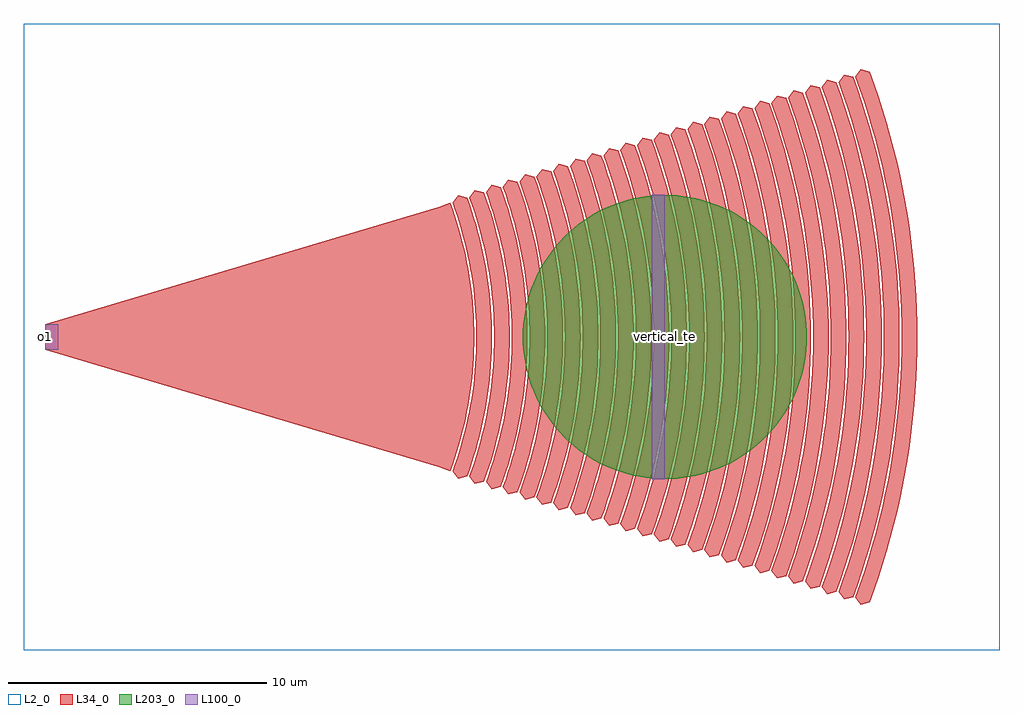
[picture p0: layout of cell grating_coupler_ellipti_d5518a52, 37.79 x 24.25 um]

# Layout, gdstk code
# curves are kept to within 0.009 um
import gdstk
lib = gdstk.Library(unit=1e-6, precision=1e-09)
def R(c, l, rs):  # rectangles x0, y0, x1, y1
    for r in rs: c.add(gdstk.rectangle(r[:2], r[2:], *l))
def P(c, l, *ps):  # polygons
    for p in ps: c.add(gdstk.Polygon(p, *l))
L2_0 = (2, 0)
L34_0 = (34, 0)
L100_0 = (100, 0)
L203_0 = (203, 0)

circle_layer203_0_radius = lib.new_cell('circle_layer203_0_radius5p5')
P(circle_layer203_0_radius, L203_0, [(5.5,0),(5.495,0.24),(5.453,0.718),(5.37,1.19),(5.245,1.654),(5.081,2.105),(4.879,2.54),(4.639,2.955),(4.505,3.155),(4.213,3.535),(3.889,3.889),(3.535,4.213),(3.155,4.505),(2.955,4.639),(2.54,4.879),(2.105,5.081),(1.654,5.245),(1.19,5.37),(0.718,5.453),(0.24,5.495),(0,5.5),(-0.24,5.495),(-0.718,5.453),(-1.19,5.37),(-1.654,5.245),(-2.105,5.081),(-2.54,4.879),(-2.955,4.639),(-3.155,4.505),(-3.535,4.213),(-3.889,3.889),(-4.213,3.535),(-4.505,3.155),(-4.639,2.955),(-4.879,2.54),(-5.081,2.105),(-5.245,1.654),(-5.37,1.19),(-5.453,0.718),(-5.495,0.24),(-5.5,0),(-5.495,-0.24),(-5.453,-0.718),(-5.37,-1.19),(-5.245,-1.654),(-5.081,-2.105),(-4.879,-2.54),(-4.639,-2.955),(-4.505,-3.155),(-4.213,-3.535),(-3.889,-3.889),(-3.535,-4.213),(-3.155,-4.505),(-2.955,-4.639),(-2.54,-4.879),(-2.105,-5.081),(-1.654,-5.245),(-1.19,-5.37),(-0.718,-5.453),(-0.24,-5.495),(0,-5.5),(0.24,-5.495),(0.718,-5.453),(1.19,-5.37),(1.654,-5.245),(2.105,-5.081),(2.54,-4.879),(2.955,-4.639),(3.155,-4.505),(3.535,-4.213),(3.889,-3.889),(4.213,-3.535),(4.505,-3.155),(4.639,-2.955),(4.879,-2.54),(5.081,-2.105),(5.245,-1.654),(5.37,-1.19),(5.453,-0.718),(5.495,-0.24)])

grating_coupler_ellipti_ = lib.new_cell('grating_coupler_ellipti_d5518a52')
R(grating_coupler_ellipti_, L2_0, [(0,-12.125,37.786,12.125)])
P(grating_coupler_ellipti_, L34_0, [(16.826,-5.479),(16.611,-5.19),(16.867,-4.434),(17.014,-3.926),(17.201,-3.153),(17.303,-2.634),(17.387,-2.111),(17.478,-1.322),(17.527,-0.529),(17.536,0),(17.527,0.529),(17.478,1.322),(17.387,2.111),(17.303,2.634),(17.201,3.153),(17.014,3.926),(16.867,4.434),(16.611,5.19),(16.826,5.479),(17.176,5.392),(17.44,4.612),(17.593,4.082),(17.728,3.548),(17.843,3.01),(17.94,2.467),(18.049,1.649),(18.114,0.825),(18.136,0),(18.114,-0.825),(18.049,-1.649),(17.94,-2.467),(17.843,-3.01),(17.728,-3.548),(17.593,-4.082),(17.44,-4.612),(17.176,-5.392)],
  [(17.476,-5.683),(17.261,-5.394),(17.443,-4.871),(17.679,-4.08),(17.814,-3.546),(17.98,-2.737),(18.067,-2.194),(18.161,-1.374),(18.2,-0.825),(18.222,0),(18.2,0.825),(18.161,1.374),(18.067,2.194),(17.98,2.737),(17.814,3.546),(17.679,4.08),(17.443,4.871),(17.261,5.394),(17.476,5.683),(17.826,5.596),(18.013,5.058),(18.182,4.512),(18.398,3.682),(18.571,2.842),(18.699,1.995),(18.782,1.142),(18.812,0.571),(18.822,0),(18.812,-0.571),(18.782,-1.142),(18.699,-1.995),(18.571,-2.842),(18.398,-3.682),(18.182,-4.512),(18.013,-5.058),(17.826,-5.596)],
  [(18.126,-5.886),(17.911,-5.597),(18.186,-4.782),(18.345,-4.234),(18.485,-3.68),(18.657,-2.84),(18.785,-1.993),(18.845,-1.426),(18.898,-0.571),(18.908,0),(18.898,0.571),(18.845,1.426),(18.785,1.993),(18.657,2.84),(18.485,3.68),(18.345,4.234),(18.186,4.782),(17.911,5.597),(18.126,5.886),(18.476,5.799),(18.669,5.242),(18.844,4.676),(19.069,3.816),(19.248,2.946),(19.341,2.361),(19.414,1.773),(19.485,0.888),(19.508,0),(19.485,-0.888),(19.414,-1.773),(19.341,-2.361),(19.248,-2.946),(19.069,-3.816),(18.844,-4.676),(18.669,-5.242),(18.476,-5.799)],
  [(18.776,-6.09),(18.56,-5.801),(18.756,-5.239),(19.011,-4.388),(19.22,-3.525),(19.334,-2.944),(19.466,-2.066),(19.529,-1.477),(19.584,-0.592),(19.594,0),(19.584,0.592),(19.529,1.477),(19.466,2.066),(19.334,2.944),(19.22,3.525),(19.011,4.388),(18.756,5.239),(18.56,5.801),(18.776,6.09),(19.125,6.003),(19.326,5.426),(19.507,4.84),(19.739,3.95),(19.925,3.049),(20.062,2.14),(20.127,1.53),(20.17,0.919),(20.194,0),(20.17,-0.919),(20.127,-1.53),(20.062,-2.14),(19.925,-3.049),(19.739,-3.95),(19.507,-4.84),(19.326,-5.426),(19.125,-6.003)],
  [(19.425,-6.293),(19.21,-6.004),(19.506,-5.13),(19.676,-4.542),(19.826,-3.947),(20.011,-3.047),(20.148,-2.138),(20.213,-1.529),(20.256,-0.918),(20.28,0),(20.256,0.918),(20.213,1.529),(20.148,2.138),(20.011,3.047),(19.893,3.648),(19.676,4.542),(19.506,5.13),(19.21,6.004),(19.425,6.293),(19.775,6.206),(19.983,5.61),(20.17,5.004),(20.41,4.084),(20.543,3.464),(20.654,2.84),(20.78,1.898),(20.855,0.95),(20.88,0),(20.855,-0.95),(20.78,-1.898),(20.654,-2.84),(20.543,-3.464),(20.41,-4.084),(20.17,-5.004),(19.983,-5.61),(19.775,-6.206)],
  [(20.075,-6.497),(19.86,-6.208),(20.069,-5.606),(20.342,-4.696),(20.566,-3.772),(20.688,-3.15),(20.788,-2.525),(20.896,-1.581),(20.955,-0.633),(20.966,0),(20.955,0.633),(20.896,1.581),(20.788,2.525),(20.688,3.15),(20.566,3.772),(20.342,4.696),(20.069,5.606),(19.86,6.208),(20.075,6.497),(20.425,6.41),(20.739,5.481),(20.921,4.852),(21.081,4.217),(21.278,3.256),(21.425,2.285),(21.52,1.308),(21.554,0.654),(21.566,0),(21.554,-0.654),(21.52,-1.308),(21.425,-2.285),(21.278,-3.256),(21.081,-4.217),(20.921,-4.852),(20.739,-5.481),(20.425,-6.41)],
  [(20.725,-6.7),(20.51,-6.411),(20.726,-5.79),(21.007,-4.85),(21.167,-4.215),(21.364,-3.254),(21.468,-2.608),(21.58,-1.633),(21.626,-0.981),(21.652,0),(21.626,0.981),(21.58,1.633),(21.468,2.608),(21.364,3.254),(21.167,4.215),(21.007,4.85),(20.726,5.79),(20.51,6.411),(20.725,6.7),(21.075,6.613),(21.296,5.977),(21.495,5.332),(21.751,4.351),(21.955,3.359),(22.062,2.692),(22.145,2.022),(22.225,1.012),(22.252,0),(22.225,-1.012),(22.145,-2.022),(22.062,-2.692),(21.955,-3.359),(21.751,-4.351),(21.495,-5.332),(21.296,-5.977),(21.075,-6.613)],
  [(21.375,-6.904),(21.159,-6.615),(21.485,-5.652),(21.673,-5.004),(21.838,-4.349),(22.041,-3.357),(22.148,-2.69),(22.264,-1.685),(22.326,-0.675),(22.338,0),(22.326,0.675),(22.264,1.685),(22.148,2.69),(22.041,3.357),(21.838,4.349),(21.673,5.004),(21.485,5.652),(21.159,6.615),(21.375,6.904),(21.724,6.817),(21.952,6.161),(22.158,5.496),(22.422,4.485),(22.632,3.462),(22.742,2.775),(22.828,2.084),(22.91,1.043),(22.938,0),(22.91,-1.043),(22.828,-2.084),(22.69,-3.119),(22.568,-3.804),(22.422,-4.485),(22.158,-5.496),(21.952,-6.161),(21.724,-6.817)],
  [(22.024,-7.107),(21.809,-6.818),(22.039,-6.158),(22.338,-5.158),(22.508,-4.483),(22.718,-3.46),(22.874,-2.428),(22.947,-1.737),(23.012,-0.695),(23.024,0),(23.012,0.695),(22.947,1.737),(22.874,2.428),(22.718,3.46),(22.508,4.483),(22.338,5.158),(22.039,6.158),(21.809,6.818),(22.024,7.107),(22.374,7.02),(22.609,6.345),(22.821,5.66),(23.008,4.967),(23.171,4.269),(23.369,3.212),(23.51,2.146),(23.596,1.075),(23.624,0),(23.596,-1.075),(23.51,-2.146),(23.369,-3.212),(23.171,-4.269),(23.008,-4.967),(22.821,-5.66),(22.609,-6.345),(22.374,-7.02)],
  [(22.674,-7.311),(22.459,-7.022),(22.695,-6.342),(23.004,-5.312),(23.179,-4.616),(23.395,-3.564),(23.508,-2.856),(23.631,-1.789),(23.682,-1.074),(23.71,0),(23.682,1.074),(23.631,1.789),(23.508,2.856),(23.395,3.564),(23.179,4.616),(23.004,5.312),(22.804,6),(22.459,7.022),(22.674,7.311),(23.024,7.224),(23.266,6.529),(23.483,5.824),(23.676,5.111),(23.844,4.393),(24.047,3.305),(24.193,2.208),(24.281,1.106),(24.31,0),(24.281,-1.106),(24.193,-2.208),(24.047,-3.305),(23.844,-4.393),(23.676,-5.111),(23.483,-5.824),(23.266,-6.529),(23.024,-7.224)],
  [(23.324,-7.514),(23.109,-7.225),(23.352,-6.526),(23.669,-5.466),(23.93,-4.39),(24.072,-3.667),(24.237,-2.574),(24.315,-1.84),(24.367,-1.105),(24.396,0),(24.367,1.105),(24.315,1.84),(24.237,2.574),(24.072,3.667),(23.93,4.39),(23.669,5.466),(23.352,6.526),(23.109,7.225),(23.324,7.514),(23.674,7.427),(23.922,6.713),(24.146,5.988),(24.344,5.255),(24.517,4.516),(24.726,3.398),(24.876,2.271),(24.966,1.137),(24.996,0),(24.966,-1.137),(24.876,-2.271),(24.726,-3.398),(24.517,-4.516),(24.344,-5.255),(24.146,-5.988),(23.922,-6.713),(23.674,-7.427)],
  [(23.974,-7.718),(23.758,-7.429),(24.009,-6.709),(24.335,-5.62),(24.603,-4.514),(24.749,-3.77),(24.869,-3.022),(24.999,-1.892),(25.069,-0.758),(25.082,0),(25.069,0.758),(24.999,1.892),(24.869,3.022),(24.749,3.77),(24.603,4.514),(24.335,5.62),(24.009,6.709),(23.758,7.429),(23.974,7.718),(24.323,7.631),(24.579,6.897),(24.809,6.152),(25.012,5.399),(25.189,4.64),(25.404,3.491),(25.559,2.333),(25.651,1.168),(25.682,0),(25.651,-1.168),(25.559,-2.333),(25.404,-3.491),(25.189,-4.64),(25.012,-5.399),(24.809,-6.152),(24.579,-6.897),(24.323,-7.631)],
  [(24.623,-7.921),(24.408,-7.632),(24.665,-6.893),(25,-5.774),(25.276,-4.638),(25.426,-3.874),(25.549,-3.105),(25.682,-1.944),(25.737,-1.167),(25.768,0),(25.737,1.167),(25.682,1.944),(25.549,3.105),(25.426,3.874),(25.276,4.638),(25,5.774),(24.665,6.893),(24.408,7.632),(24.623,7.921),(24.973,7.834),(25.235,7.08),(25.471,6.316),(25.681,5.543),(25.862,4.764),(26.083,3.584),(26.241,2.395),(26.336,1.199),(26.368,0),(26.336,-1.199),(26.241,-2.395),(26.083,-3.584),(25.862,-4.764),(25.681,-5.543),(25.471,-6.316),(25.235,-7.08),(24.973,-7.834)],
  [(25.273,-8.125),(25.058,-7.836),(25.322,-7.077),(25.666,-5.928),(25.861,-5.152),(26.103,-3.977),(26.282,-2.791),(26.366,-1.996),(26.44,-0.799),(26.454,0),(26.44,0.799),(26.366,1.996),(26.282,2.791),(26.103,3.977),(25.861,5.152),(25.666,5.928),(25.322,7.077),(25.058,7.836),(25.273,8.125),(25.623,8.038),(25.892,7.264),(26.134,6.48),(26.349,5.687),(26.535,4.888),(26.762,3.677),(26.924,2.457),(27.021,1.23),(27.054,0),(27.021,-1.23),(26.924,-2.457),(26.762,-3.677),(26.535,-4.888),(26.349,-5.687),(26.134,-6.48),(25.892,-7.264),(25.623,-8.038)],
  [(25.923,-8.328),(25.708,-8.039),(26.103,-6.87),(26.331,-6.082),(26.532,-5.286),(26.779,-4.08),(26.909,-3.27),(27.05,-2.048),(27.126,-0.82),(27.14,0),(27.126,0.82),(27.05,2.048),(26.909,3.27),(26.779,4.08),(26.532,5.286),(26.331,6.082),(26.103,6.87),(25.708,8.039),(25.923,8.328),(26.273,8.241),(26.548,7.448),(26.797,6.644),(27.017,5.831),(27.208,5.011),(27.44,3.771),(27.607,2.519),(27.707,1.261),(27.74,0),(27.707,-1.261),(27.607,-2.519),(27.44,-3.771),(27.208,-5.011),(27.017,-5.831),(26.797,-6.644),(26.548,-7.448),(26.273,-8.241)],
  [(26.573,-8.532),(26.357,-8.243),(26.763,-7.044),(26.997,-6.236),(27.294,-5.009),(27.456,-4.184),(27.645,-2.936),(27.733,-2.1),(27.793,-1.261),(27.826,0),(27.793,1.261),(27.733,2.1),(27.645,2.936),(27.456,4.184),(27.294,5.009),(26.997,6.236),(26.763,7.044),(26.357,8.243),(26.573,8.532),(26.922,8.445),(27.205,7.632),(27.46,6.808),(27.685,5.975),(27.881,5.135),(28.119,3.864),(28.289,2.582),(28.392,1.293),(28.426,0),(28.392,-1.293),(28.289,-2.582),(28.119,-3.864),(27.881,-5.135),(27.685,-5.975),(27.46,-6.808),(27.205,-7.632),(26.922,-8.445)],
  [(27.222,-8.735),(27.007,-8.446),(27.422,-7.218),(27.771,-5.972),(28.054,-4.711),(28.269,-3.436),(28.375,-2.58),(28.451,-1.722),(28.497,-0.862),(28.512,0),(28.497,0.862),(28.451,1.722),(28.375,2.58),(28.269,3.436),(28.054,4.711),(27.771,5.972),(27.422,7.218),(27.007,8.446),(27.222,8.735),(27.572,8.648),(27.862,7.816),(28.122,6.972),(28.353,6.119),(28.554,5.259),(28.797,3.957),(28.972,2.644),(29.077,1.324),(29.112,0),(29.077,-1.324),(28.972,-2.644),(28.797,-3.957),(28.554,-5.259),(28.353,-6.119),(28.122,-6.972),(27.862,-7.816),(27.572,-8.648)],
  [(27.872,-8.939),(27.657,-8.65),(28.082,-7.392),(28.439,-6.116),(28.729,-4.824),(28.949,-3.519),(29.058,-2.643),(29.136,-1.764),(29.182,-0.882),(29.198,0),(29.182,0.882),(29.136,1.764),(29.058,2.643),(28.949,3.519),(28.729,4.824),(28.439,6.116),(28.082,7.392),(27.657,8.65),(27.872,8.939),(28.222,8.852),(28.518,8),(28.785,7.136),(29.021,6.263),(29.227,5.382),(29.476,4.05),(29.655,2.706),(29.762,1.355),(29.798,0),(29.762,-1.355),(29.655,-2.706),(29.476,-4.05),(29.227,-5.382),(29.021,-6.263),(28.785,-7.136),(28.518,-8),(28.222,-8.852)],
  [(28.522,-9.142),(28.307,-8.853),(28.742,-7.566),(29.108,-6.26),(29.404,-4.938),(29.63,-3.601),(29.741,-2.705),(29.82,-1.805),(29.868,-0.903),(29.884,0),(29.868,0.903),(29.82,1.805),(29.741,2.705),(29.63,3.601),(29.404,4.938),(29.108,6.26),(28.742,7.566),(28.307,8.853),(28.522,9.142),(28.872,9.055),(29.175,8.184),(29.448,7.3),(29.689,6.407),(29.899,5.506),(30.155,4.143),(30.337,2.768),(30.447,1.386),(30.484,0),(30.447,-1.386),(30.337,-2.768),(30.155,-4.143),(29.899,-5.506),(29.689,-6.407),(29.448,-7.3),(29.175,-8.184),(28.872,-9.055)],
  [(29.172,-9.346),(28.957,-9.057),(29.402,-7.74),(29.776,-6.404),(30.079,-5.051),(30.31,-3.684),(30.424,-2.767),(30.505,-1.847),(30.554,-0.924),(30.57,0),(30.554,0.924),(30.505,1.847),(30.424,2.767),(30.31,3.684),(30.079,5.051),(29.776,6.404),(29.402,7.74),(28.957,9.057),(29.172,9.346),(29.521,9.259),(29.831,8.367),(30.11,7.464),(30.358,6.551),(30.572,5.63),(30.833,4.236),(31.02,2.83),(31.133,1.417),(31.17,0),(31.133,-1.417),(31.02,-2.83),(30.833,-4.236),(30.572,-5.63),(30.358,-6.551),(30.11,-7.464),(29.831,-8.367),(29.521,-9.259)],
  [(29.821,-9.549),(29.606,-9.26),(30.061,-7.914),(30.444,-6.548),(30.754,-5.165),(30.99,-3.767),(31.106,-2.829),(31.189,-1.888),(31.239,-0.945),(31.256,0),(31.239,0.945),(31.189,1.888),(31.106,2.829),(30.99,3.767),(30.754,5.165),(30.444,6.548),(30.061,7.914),(29.606,9.26),(29.821,9.549),(30.171,9.462),(30.488,8.551),(30.773,7.628),(31.026,6.695),(31.245,5.754),(31.512,4.329),(31.703,2.893),(31.818,1.448),(31.856,0),(31.818,-1.448),(31.703,-2.893),(31.512,-4.329),(31.245,-5.754),(31.026,-6.695),(30.773,-7.628),(30.488,-8.551),(30.171,-9.462)],
  [(30.471,-9.753),(30.256,-9.464),(30.721,-8.088),(31.112,-6.692),(31.429,-5.278),(31.67,-3.85),(31.789,-2.891),(31.874,-1.93),(31.925,-0.965),(31.942,0),(31.925,0.965),(31.874,1.93),(31.789,2.891),(31.67,3.85),(31.429,5.278),(31.112,6.692),(30.721,8.088),(30.256,9.464),(30.471,9.753),(30.821,9.666),(31.145,8.735),(31.436,7.792),(31.694,6.839),(31.918,5.877),(32.19,4.422),(32.386,2.955),(32.503,1.479),(32.525,0.987),(32.542,0),(32.525,-0.987),(32.503,-1.479),(32.386,-2.955),(32.19,-4.422),(31.918,-5.877),(31.694,-6.839),(31.436,-7.792),(31.145,-8.735),(30.821,-9.666)],
  [(31.121,-9.956),(30.906,-9.667),(31.381,-8.262),(31.78,-6.836),(32.104,-5.392),(32.277,-4.42),(32.415,-3.444),(32.519,-2.463),(32.611,-0.986),(32.628,0),(32.611,0.986),(32.519,2.463),(32.415,3.444),(32.277,4.42),(32.104,5.392),(31.78,6.836),(31.381,8.262),(30.906,9.667),(31.121,9.956),(31.471,9.869),(31.801,8.919),(32.099,7.956),(32.362,6.983),(32.591,6.001),(32.869,4.515),(33.011,3.518),(33.068,3.017),(33.117,2.516),(33.188,1.511),(33.224,0.504),(33.228,0),(33.224,-0.504),(33.188,-1.511),(33.117,-2.516),(33.068,-3.017),(33.011,-3.518),(32.869,-4.515),(32.591,-6.001),(32.362,-6.983),(32.099,-7.956),(31.801,-8.919),(31.471,-9.869)],
  [(31.771,-10.16),(31.556,-9.871),(32.041,-8.436),(32.321,-7.467),(32.677,-5.999),(32.779,-5.505),(32.955,-4.513),(33.097,-3.516),(33.243,-2.013),(33.296,-1.007),(33.314,0),(33.296,1.007),(33.243,2.013),(33.097,3.516),(32.955,4.513),(32.779,5.505),(32.677,5.999),(32.321,7.467),(32.041,8.436),(31.556,9.871),(31.771,10.16),(32.12,10.073),(32.458,9.103),(32.761,8.12),(33.03,7.127),(33.264,6.125),(33.548,4.608),(33.751,3.079),(33.842,2.055),(33.873,1.542),(33.896,1.028),(33.914,0),(33.896,-1.028),(33.873,-1.542),(33.842,-2.055),(33.751,-3.079),(33.548,-4.608),(33.264,-6.125),(33.03,-7.127),(32.761,-8.12),(32.458,-9.103),(32.12,-10.073)],
  [(32.42,-10.363),(32.205,-10.074),(32.544,-9.1),(32.7,-8.61),(32.848,-8.117),(33.116,-7.124),(33.238,-6.624),(33.454,-5.619),(33.634,-4.607),(33.711,-4.098),(33.837,-3.078),(33.928,-2.054),(33.982,-1.028),(34,0),(33.982,1.028),(33.928,2.054),(33.837,3.078),(33.711,4.098),(33.634,4.607),(33.454,5.619),(33.238,6.624),(33.116,7.124),(32.848,8.117),(32.7,8.61),(32.544,9.1),(32.205,10.074),(32.42,10.363),(32.77,10.276),(33.114,9.287),(33.424,8.284),(33.698,7.27),(33.937,6.248),(34.139,5.219),(34.226,4.701),(34.305,4.183),(34.434,3.141),(34.526,2.096),(34.558,1.573),(34.582,1.049),(34.6,0),(34.582,-1.049),(34.558,-1.573),(34.526,-2.096),(34.434,-3.141),(34.305,-4.183),(34.226,-4.701),(34.139,-5.219),(33.937,-6.248),(33.698,-7.27),(33.424,-8.284),(33.114,-9.287),(32.77,-10.276)],
  [(0.85,0.5),(0.85,-0.5),(16.244,-5.088),(16.415,-4.597),(16.604,-3.975),(16.765,-3.346),(16.874,-2.838),(16.985,-2.199),(17.068,-1.555),(17.122,-0.908),(17.148,-0.26),(17.148,0.26),(17.122,0.908),(17.081,1.426),(17.004,2.07),(16.922,2.583),(16.794,3.22),(16.638,3.85),(16.455,4.473),(16.244,5.088)],
  [(15.961,-4.987),(16.13,-4.503),(16.28,-4.017),(16.473,-3.278),(16.58,-2.78),(16.669,-2.28),(16.74,-1.776),(16.794,-1.27),(16.83,-0.763),(16.85,0),(16.83,0.763),(16.769,1.523),(16.669,2.28),(16.58,2.78),(16.413,3.525),(16.207,4.261),(15.961,4.987),(16.526,5.189),(16.78,4.438),(16.995,3.672),(17.168,2.896),(17.301,2.112),(17.392,1.323),(17.441,0.53),(17.448,-0.265),(17.429,-0.794),(17.392,-1.323),(17.336,-1.85),(17.261,-2.374),(17.168,-2.896),(17.057,-3.414),(16.928,-3.928),(16.78,-4.438),(16.615,-4.941),(16.526,-5.189)])
R(grating_coupler_ellipti_, L100_0, [(24.332,-5.5,24.832,5.5), (0.85,-0.5,1.35,0.5)])
grating_coupler_ellipti_.add(gdstk.Reference(circle_layer203_0_radius, (24.832,0)))
grating_coupler_ellipti_.add(gdstk.Label('vertical_te', (24.832,0), layer=100, texttype=0))
grating_coupler_ellipti_.add(gdstk.Label('o1', (0.85,0), layer=100, texttype=0))

lib.write_gds('grating_coupler_ellipti_d5518a52.gds')
